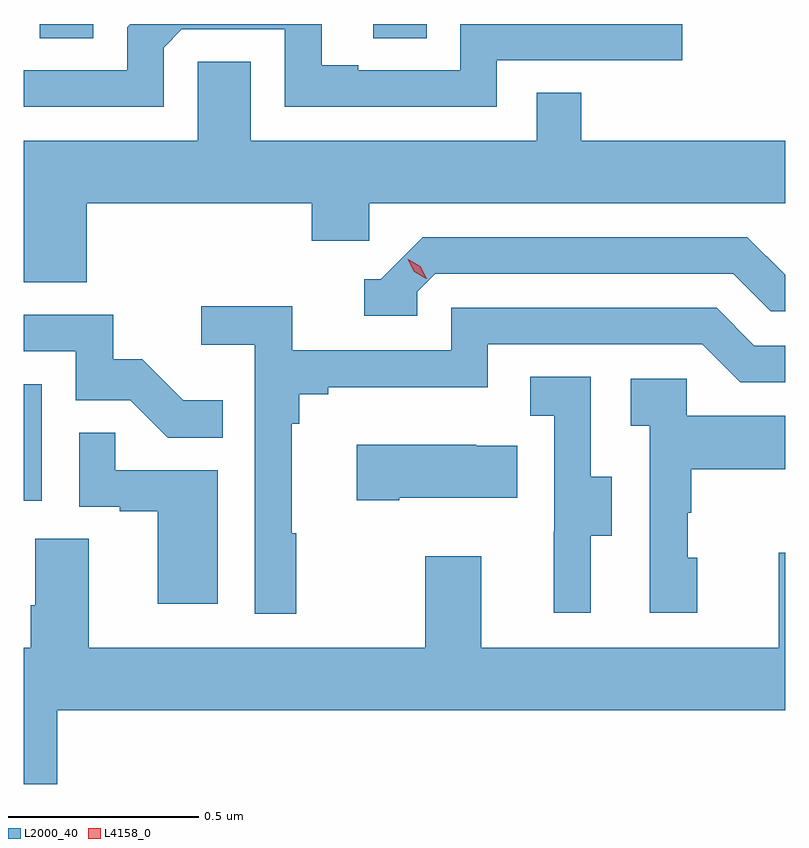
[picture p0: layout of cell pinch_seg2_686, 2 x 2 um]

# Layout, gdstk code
import gdstk
lib = gdstk.Library(unit=1e-6, precision=1e-09)
def R(c, l, rs):  # rectangles x0, y0, x1, y1
    for r in rs: c.add(gdstk.rectangle(r[:2], r[2:], *l))
def P(c, l, *ps):  # polygons
    for p in ps: c.add(gdstk.Polygon(p, *l))
L2000_40 = (2000, 40)
L4158_0 = (4158, 0)

pinch_seg2_686 = lib.new_cell('pinch_seg2_686')
R(pinch_seg2_686, L2000_40, [(1046.111,598.902,1046.158,599.209), (1046.153,600.118,1046.293,600.155), (1047.029,600.118,1047.169,600.155)])
P(pinch_seg2_686, L2000_40, [(1046.478,600.093),(1046.526,600.141),(1046.796,600.141),(1046.796,599.937),(1047.354,599.937),(1047.354,600.06),(1047.841,600.06),(1047.841,600.155),(1047.258,600.155),(1047.258,600.033),(1046.989,600.033),(1046.989,600.046),(1046.893,600.046),(1046.893,600.155),(1046.39,600.155),(1046.382,600.147),(1046.382,600.033),(1046.111,600.033),(1046.111,599.937),(1046.478,599.937)],
  [(1046.276,599.684),(1046.867,599.684),(1046.867,599.586),(1047.018,599.586),(1047.018,599.684),(1048.111,599.684),(1048.111,599.848),(1047.575,599.848),(1047.575,599.975),(1047.459,599.975),(1047.459,599.848),(1046.707,599.848),(1046.707,600.056),(1046.568,600.056),(1046.568,599.848),(1046.111,599.848),(1046.111,599.476),(1046.276,599.476)],
  [(1047.144,599.451),(1047.192,599.499),(1047.975,599.499),(1048.074,599.4),(1048.111,599.4),(1048.111,599.496),(1048.012,599.595),(1047.159,599.595),(1047.048,599.484),(1047.005,599.484),(1047.005,599.388),(1047.144,599.388)],
  [(1046.827,598.817),(1046.815,598.817),(1046.815,599.105),(1046.834,599.105),(1046.834,599.182),(1046.911,599.182),(1046.911,599.201),(1047.33,599.201),(1047.33,599.313),(1047.894,599.313),(1047.993,599.214),(1048.111,599.214),(1048.111,599.31),(1048.03,599.31),(1047.931,599.409),(1047.234,599.409),(1047.234,599.298),(1046.816,599.298),(1046.816,599.414),(1046.577,599.414),(1046.577,599.312),(1046.718,599.312),(1046.718,598.605),(1046.827,598.605)],
  [(1046.633,599.167),(1046.529,599.167),(1046.422,599.274),(1046.346,599.274),(1046.346,599.391),(1046.111,599.391),(1046.111,599.295),(1046.247,599.295),(1046.247,599.166),(1046.391,599.166),(1046.489,599.068),(1046.633,599.068)],
  [(1047.601,598.81),(1047.655,598.81),(1047.655,598.965),(1047.6,598.965),(1047.6,599.228),(1047.441,599.228),(1047.441,599.125),(1047.504,599.125),(1047.504,598.821),(1047.503,598.821),(1047.503,598.608),(1047.601,598.608)],
  [(1047.88,598.752),(1047.855,598.752),(1047.855,598.871),(1047.865,598.871),(1047.865,598.985),(1048.111,598.985),(1048.111,599.125),(1047.852,599.125),(1047.852,599.223),(1047.705,599.223),(1047.705,599.099),(1047.756,599.099),(1047.756,598.608),(1047.88,598.608)],
  [(1046.62,598.983),(1046.351,598.983),(1046.351,599.081),(1046.256,599.081),(1046.256,598.887),(1046.363,598.887),(1046.363,598.875),(1046.462,598.875),(1046.462,598.632),(1046.62,598.632)],
  [(1047.097,598.91),(1047.407,598.91),(1047.407,599.047),(1047.299,599.047),(1047.299,599.05),(1046.985,599.05),(1046.985,598.903),(1047.097,598.903)],
  [(1046.198,598.352),(1048.111,598.352),(1048.111,598.765),(1048.094,598.765),(1048.094,598.516),(1047.313,598.516),(1047.313,598.756),(1047.166,598.756),(1047.166,598.516),(1046.281,598.516),(1046.281,598.802),(1046.141,598.802),(1046.141,598.628),(1046.129,598.628),(1046.129,598.516),(1046.111,598.516),(1046.111,598.158),(1046.198,598.158)])
P(pinch_seg2_686, L4158_0, [(1047.168,599.485),(1047.137,599.504),(1047.12,599.537),(1047.12,599.537),(1047.121,599.537),(1047.152,599.518),(1047.169,599.485),(1047.169,599.485)])

lib.write_gds('pinch_seg2_686.gds')
